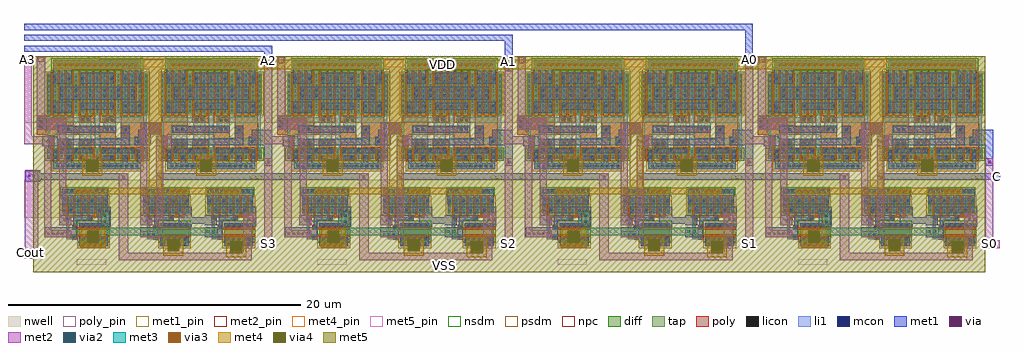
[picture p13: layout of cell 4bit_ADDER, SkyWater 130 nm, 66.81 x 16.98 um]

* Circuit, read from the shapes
.subckt 4bit_ADDER A0 A1 A2 A3 B0 B1 B2 B3 C Cout S0 S1 S2 S3 VDD VSS
XM1 VSS B3 n1 VSS sky130_fd_pr__nfet_01v8 w=0.65 l=0.15
XM2 n2 n3 VSS VSS sky130_fd_pr__nfet_01v8 w=0.65 l=0.15 m=3
XM3 FULL_ADDER_3/NAND2_3/A n1 n2 VSS sky130_fd_pr__nfet_01v8 w=0.65 l=0.15 m=3
XM4 n4 B3 VSS VSS sky130_fd_pr__nfet_01v8 w=2 l=0.15
XM5 FULL_ADDER_3/NAND2_2/B A3 n4 VSS sky130_fd_pr__nfet_01v8 w=2 l=0.15
XM6 n5 B3 FULL_ADDER_3/NAND2_3/A VSS sky130_fd_pr__nfet_01v8 w=0.65 l=0.15 m=3
XM7 VSS A3 n5 VSS sky130_fd_pr__nfet_01v8 w=0.65 l=0.15 m=3
XM8 n3 A3 VSS VSS sky130_fd_pr__nfet_01v8 w=0.65 l=0.15
XM9 n6 FULL_ADDER_3/NAND2_3/A VSS VSS sky130_fd_pr__nfet_01v8 w=2 l=0.15
XM10 FULL_ADDER_3/NAND2_2/A FULL_ADDER_3/CIN n6 VSS sky130_fd_pr__nfet_01v8 w=2 l=0.15
XM11 VSS FULL_ADDER_3/NAND2_3/A n7 VSS sky130_fd_pr__nfet_01v8 w=0.65 l=0.15
XM12 n8 n9 VSS VSS sky130_fd_pr__nfet_01v8 w=0.65 l=0.15 m=3
XM13 S3 n7 n8 VSS sky130_fd_pr__nfet_01v8 w=0.65 l=0.15 m=3
XM14 n10 FULL_ADDER_3/NAND2_3/A S3 VSS sky130_fd_pr__nfet_01v8 w=0.65 l=0.15 m=3
XM15 n11 FULL_ADDER_3/NAND2_2/A VSS VSS sky130_fd_pr__nfet_01v8 w=2 l=0.15
XM16 Cout FULL_ADDER_3/NAND2_2/B n11 VSS sky130_fd_pr__nfet_01v8 w=2 l=0.15
XM17 VSS FULL_ADDER_3/CIN n10 VSS sky130_fd_pr__nfet_01v8 w=0.65 l=0.15 m=3
XM18 n9 FULL_ADDER_3/CIN VSS VSS sky130_fd_pr__nfet_01v8 w=0.65 l=0.15
XM19 VSS B2 n12 VSS sky130_fd_pr__nfet_01v8 w=0.65 l=0.15
XM20 n13 n14 VSS VSS sky130_fd_pr__nfet_01v8 w=0.65 l=0.15 m=3
XM21 FULL_ADDER_2/NAND2_3/A n12 n13 VSS sky130_fd_pr__nfet_01v8 w=0.65 l=0.15 m=3
XM22 n15 B2 VSS VSS sky130_fd_pr__nfet_01v8 w=2 l=0.15
XM23 FULL_ADDER_2/NAND2_2/B A2 n15 VSS sky130_fd_pr__nfet_01v8 w=2 l=0.15
XM24 n16 B2 FULL_ADDER_2/NAND2_3/A VSS sky130_fd_pr__nfet_01v8 w=0.65 l=0.15 m=3
XM25 VSS A2 n16 VSS sky130_fd_pr__nfet_01v8 w=0.65 l=0.15 m=3
XM26 n14 A2 VSS VSS sky130_fd_pr__nfet_01v8 w=0.65 l=0.15
XM27 n17 FULL_ADDER_2/NAND2_3/A VSS VSS sky130_fd_pr__nfet_01v8 w=2 l=0.15
XM28 FULL_ADDER_2/NAND2_2/A FULL_ADDER_2/CIN n17 VSS sky130_fd_pr__nfet_01v8 w=2 l=0.15
XM29 VSS FULL_ADDER_2/NAND2_3/A n18 VSS sky130_fd_pr__nfet_01v8 w=0.65 l=0.15
XM30 n19 n20 VSS VSS sky130_fd_pr__nfet_01v8 w=0.65 l=0.15 m=3
XM31 S2 n18 n19 VSS sky130_fd_pr__nfet_01v8 w=0.65 l=0.15 m=3
XM32 n21 FULL_ADDER_2/NAND2_3/A S2 VSS sky130_fd_pr__nfet_01v8 w=0.65 l=0.15 m=3
XM33 n22 FULL_ADDER_2/NAND2_2/A VSS VSS sky130_fd_pr__nfet_01v8 w=2 l=0.15
XM34 FULL_ADDER_3/CIN FULL_ADDER_2/NAND2_2/B n22 VSS sky130_fd_pr__nfet_01v8 w=2 l=0.15
XM35 VSS FULL_ADDER_2/CIN n21 VSS sky130_fd_pr__nfet_01v8 w=0.65 l=0.15 m=3
XM36 n20 FULL_ADDER_2/CIN VSS VSS sky130_fd_pr__nfet_01v8 w=0.65 l=0.15
XM37 VSS B1 n23 VSS sky130_fd_pr__nfet_01v8 w=0.65 l=0.15
XM38 n24 n25 VSS VSS sky130_fd_pr__nfet_01v8 w=0.65 l=0.15 m=3
XM39 FULL_ADDER_1/NAND2_3/A n23 n24 VSS sky130_fd_pr__nfet_01v8 w=0.65 l=0.15 m=3
XM40 n26 B1 VSS VSS sky130_fd_pr__nfet_01v8 w=2 l=0.15
XM41 FULL_ADDER_1/NAND2_2/B A1 n26 VSS sky130_fd_pr__nfet_01v8 w=2 l=0.15
XM42 n27 B1 FULL_ADDER_1/NAND2_3/A VSS sky130_fd_pr__nfet_01v8 w=0.65 l=0.15 m=3
XM43 VSS A1 n27 VSS sky130_fd_pr__nfet_01v8 w=0.65 l=0.15 m=3
XM44 n25 A1 VSS VSS sky130_fd_pr__nfet_01v8 w=0.65 l=0.15
XM45 n28 FULL_ADDER_1/NAND2_3/A VSS VSS sky130_fd_pr__nfet_01v8 w=2 l=0.15
XM46 FULL_ADDER_1/NAND2_2/A FULL_ADDER_1/CIN n28 VSS sky130_fd_pr__nfet_01v8 w=2 l=0.15
XM47 VSS FULL_ADDER_1/NAND2_3/A n29 VSS sky130_fd_pr__nfet_01v8 w=0.65 l=0.15
XM48 n30 n31 VSS VSS sky130_fd_pr__nfet_01v8 w=0.65 l=0.15 m=3
XM49 S1 n29 n30 VSS sky130_fd_pr__nfet_01v8 w=0.65 l=0.15 m=3
XM50 n32 FULL_ADDER_1/NAND2_3/A S1 VSS sky130_fd_pr__nfet_01v8 w=0.65 l=0.15 m=3
XM51 n33 FULL_ADDER_1/NAND2_2/A VSS VSS sky130_fd_pr__nfet_01v8 w=2 l=0.15
XM52 FULL_ADDER_2/CIN FULL_ADDER_1/NAND2_2/B n33 VSS sky130_fd_pr__nfet_01v8 w=2 l=0.15
XM53 VSS FULL_ADDER_1/CIN n32 VSS sky130_fd_pr__nfet_01v8 w=0.65 l=0.15 m=3
XM54 n31 FULL_ADDER_1/CIN VSS VSS sky130_fd_pr__nfet_01v8 w=0.65 l=0.15
XM55 VSS B0 n34 VSS sky130_fd_pr__nfet_01v8 w=0.65 l=0.15
XM56 n35 n36 VSS VSS sky130_fd_pr__nfet_01v8 w=0.65 l=0.15 m=3
XM57 FULL_ADDER_0/NAND2_3/A n34 n35 VSS sky130_fd_pr__nfet_01v8 w=0.65 l=0.15 m=3
XM58 n37 B0 VSS VSS sky130_fd_pr__nfet_01v8 w=2 l=0.15
XM59 FULL_ADDER_0/NAND2_2/B A0 n37 VSS sky130_fd_pr__nfet_01v8 w=2 l=0.15
XM60 n38 B0 FULL_ADDER_0/NAND2_3/A VSS sky130_fd_pr__nfet_01v8 w=0.65 l=0.15 m=3
XM61 VSS A0 n38 VSS sky130_fd_pr__nfet_01v8 w=0.65 l=0.15 m=3
XM62 n36 A0 VSS VSS sky130_fd_pr__nfet_01v8 w=0.65 l=0.15
XM63 n39 FULL_ADDER_0/NAND2_3/A VSS VSS sky130_fd_pr__nfet_01v8 w=2 l=0.15
XM64 FULL_ADDER_0/NAND2_2/A C n39 VSS sky130_fd_pr__nfet_01v8 w=2 l=0.15
XM65 VSS FULL_ADDER_0/NAND2_3/A n40 VSS sky130_fd_pr__nfet_01v8 w=0.65 l=0.15
XM66 n41 n42 VSS VSS sky130_fd_pr__nfet_01v8 w=0.65 l=0.15 m=3
XM67 S0 n40 n41 VSS sky130_fd_pr__nfet_01v8 w=0.65 l=0.15 m=3
XM68 n43 FULL_ADDER_0/NAND2_3/A S0 VSS sky130_fd_pr__nfet_01v8 w=0.65 l=0.15 m=3
XM69 n44 FULL_ADDER_0/NAND2_2/A VSS VSS sky130_fd_pr__nfet_01v8 w=2 l=0.15
XM70 FULL_ADDER_1/CIN FULL_ADDER_0/NAND2_2/B n44 VSS sky130_fd_pr__nfet_01v8 w=2 l=0.15
XM71 VSS C n43 VSS sky130_fd_pr__nfet_01v8 w=0.65 l=0.15 m=3
XM72 n42 C VSS VSS sky130_fd_pr__nfet_01v8 w=0.65 l=0.15
XM73 VDD B3 n1 VDD sky130_fd_pr__pfet_01v8 w=2.75 l=0.15
XM74 n45 B3 VDD VDD sky130_fd_pr__pfet_01v8 w=2.75 l=0.15 m=3
XM75 FULL_ADDER_3/NAND2_2/B B3 VDD VDD sky130_fd_pr__pfet_01v8 w=1.07 l=0.15 m=3
XM76 FULL_ADDER_3/NAND2_3/A n1 n45 VDD sky130_fd_pr__pfet_01v8 w=2.75 l=0.15 m=3
XM77 VDD A3 FULL_ADDER_3/NAND2_2/B VDD sky130_fd_pr__pfet_01v8 w=1.07 l=0.15 m=3
XM78 n45 n3 FULL_ADDER_3/NAND2_3/A VDD sky130_fd_pr__pfet_01v8 w=2.75 l=0.15 m=3
XM79 VDD A3 n45 VDD sky130_fd_pr__pfet_01v8 w=2.75 l=0.15 m=3
XM80 n3 A3 VDD VDD sky130_fd_pr__pfet_01v8 w=2.75 l=0.15
XM81 FULL_ADDER_3/NAND2_2/A FULL_ADDER_3/NAND2_3/A VDD VDD sky130_fd_pr__pfet_01v8 w=1.07 l=0.15 m=3
XM82 VDD FULL_ADDER_3/NAND2_3/A n7 VDD sky130_fd_pr__pfet_01v8 w=2.75 l=0.15
XM83 VDD FULL_ADDER_3/CIN FULL_ADDER_3/NAND2_2/A VDD sky130_fd_pr__pfet_01v8 w=1.07 l=0.15 m=3
XM84 n46 FULL_ADDER_3/NAND2_3/A VDD VDD sky130_fd_pr__pfet_01v8 w=2.75 l=0.15 m=3
XM85 S3 n7 n46 VDD sky130_fd_pr__pfet_01v8 w=2.75 l=0.15 m=3
XM86 Cout FULL_ADDER_3/NAND2_2/A VDD VDD sky130_fd_pr__pfet_01v8 w=1.07 l=0.15 m=3
XM87 n46 n9 S3 VDD sky130_fd_pr__pfet_01v8 w=2.75 l=0.15 m=3
XM88 VDD FULL_ADDER_3/NAND2_2/B Cout VDD sky130_fd_pr__pfet_01v8 w=1.07 l=0.15 m=3
XM89 VDD FULL_ADDER_3/CIN n46 VDD sky130_fd_pr__pfet_01v8 w=2.75 l=0.15 m=3
XM90 n9 FULL_ADDER_3/CIN VDD VDD sky130_fd_pr__pfet_01v8 w=2.75 l=0.15
XM91 VDD B2 n12 VDD sky130_fd_pr__pfet_01v8 w=2.75 l=0.15
XM92 n47 B2 VDD VDD sky130_fd_pr__pfet_01v8 w=2.75 l=0.15 m=3
XM93 FULL_ADDER_2/NAND2_2/B B2 VDD VDD sky130_fd_pr__pfet_01v8 w=1.07 l=0.15 m=3
XM94 FULL_ADDER_2/NAND2_3/A n12 n47 VDD sky130_fd_pr__pfet_01v8 w=2.75 l=0.15 m=3
XM95 VDD A2 FULL_ADDER_2/NAND2_2/B VDD sky130_fd_pr__pfet_01v8 w=1.07 l=0.15 m=3
XM96 n47 n14 FULL_ADDER_2/NAND2_3/A VDD sky130_fd_pr__pfet_01v8 w=2.75 l=0.15 m=3
XM97 VDD A2 n47 VDD sky130_fd_pr__pfet_01v8 w=2.75 l=0.15 m=3
XM98 n14 A2 VDD VDD sky130_fd_pr__pfet_01v8 w=2.75 l=0.15
XM99 FULL_ADDER_2/NAND2_2/A FULL_ADDER_2/NAND2_3/A VDD VDD sky130_fd_pr__pfet_01v8 w=1.07 l=0.15 m=3
XM100 VDD FULL_ADDER_2/NAND2_3/A n18 VDD sky130_fd_pr__pfet_01v8 w=2.75 l=0.15
XM101 VDD FULL_ADDER_2/CIN FULL_ADDER_2/NAND2_2/A VDD sky130_fd_pr__pfet_01v8 w=1.07 l=0.15 m=3
XM102 n48 FULL_ADDER_2/NAND2_3/A VDD VDD sky130_fd_pr__pfet_01v8 w=2.75 l=0.15 m=3
XM103 S2 n18 n48 VDD sky130_fd_pr__pfet_01v8 w=2.75 l=0.15 m=3
XM104 FULL_ADDER_3/CIN FULL_ADDER_2/NAND2_2/A VDD VDD sky130_fd_pr__pfet_01v8 w=1.07 l=0.15 m=3
XM105 n48 n20 S2 VDD sky130_fd_pr__pfet_01v8 w=2.75 l=0.15 m=3
XM106 VDD FULL_ADDER_2/NAND2_2/B FULL_ADDER_3/CIN VDD sky130_fd_pr__pfet_01v8 w=1.07 l=0.15 m=3
XM107 VDD FULL_ADDER_2/CIN n48 VDD sky130_fd_pr__pfet_01v8 w=2.75 l=0.15 m=3
XM108 n20 FULL_ADDER_2/CIN VDD VDD sky130_fd_pr__pfet_01v8 w=2.75 l=0.15
XM109 VDD B1 n23 VDD sky130_fd_pr__pfet_01v8 w=2.75 l=0.15
XM110 n49 B1 VDD VDD sky130_fd_pr__pfet_01v8 w=2.75 l=0.15 m=3
XM111 FULL_ADDER_1/NAND2_2/B B1 VDD VDD sky130_fd_pr__pfet_01v8 w=1.07 l=0.15 m=3
XM112 FULL_ADDER_1/NAND2_3/A n23 n49 VDD sky130_fd_pr__pfet_01v8 w=2.75 l=0.15 m=3
XM113 VDD A1 FULL_ADDER_1/NAND2_2/B VDD sky130_fd_pr__pfet_01v8 w=1.07 l=0.15 m=3
XM114 n49 n25 FULL_ADDER_1/NAND2_3/A VDD sky130_fd_pr__pfet_01v8 w=2.75 l=0.15 m=3
XM115 VDD A1 n49 VDD sky130_fd_pr__pfet_01v8 w=2.75 l=0.15 m=3
XM116 n25 A1 VDD VDD sky130_fd_pr__pfet_01v8 w=2.75 l=0.15
XM117 FULL_ADDER_1/NAND2_2/A FULL_ADDER_1/NAND2_3/A VDD VDD sky130_fd_pr__pfet_01v8 w=1.07 l=0.15 m=3
XM118 VDD FULL_ADDER_1/NAND2_3/A n29 VDD sky130_fd_pr__pfet_01v8 w=2.75 l=0.15
XM119 VDD FULL_ADDER_1/CIN FULL_ADDER_1/NAND2_2/A VDD sky130_fd_pr__pfet_01v8 w=1.07 l=0.15 m=3
XM120 n50 FULL_ADDER_1/NAND2_3/A VDD VDD sky130_fd_pr__pfet_01v8 w=2.75 l=0.15 m=3
XM121 S1 n29 n50 VDD sky130_fd_pr__pfet_01v8 w=2.75 l=0.15 m=3
XM122 FULL_ADDER_2/CIN FULL_ADDER_1/NAND2_2/A VDD VDD sky130_fd_pr__pfet_01v8 w=1.07 l=0.15 m=3
XM123 n50 n31 S1 VDD sky130_fd_pr__pfet_01v8 w=2.75 l=0.15 m=3
XM124 VDD FULL_ADDER_1/NAND2_2/B FULL_ADDER_2/CIN VDD sky130_fd_pr__pfet_01v8 w=1.07 l=0.15 m=3
XM125 VDD FULL_ADDER_1/CIN n50 VDD sky130_fd_pr__pfet_01v8 w=2.75 l=0.15 m=3
XM126 n31 FULL_ADDER_1/CIN VDD VDD sky130_fd_pr__pfet_01v8 w=2.75 l=0.15
XM127 VDD B0 n34 VDD sky130_fd_pr__pfet_01v8 w=2.75 l=0.15
XM128 n51 B0 VDD VDD sky130_fd_pr__pfet_01v8 w=2.75 l=0.15 m=3
XM129 FULL_ADDER_0/NAND2_2/B B0 VDD VDD sky130_fd_pr__pfet_01v8 w=1.07 l=0.15 m=3
XM130 FULL_ADDER_0/NAND2_3/A n34 n51 VDD sky130_fd_pr__pfet_01v8 w=2.75 l=0.15 m=3
XM131 VDD A0 FULL_ADDER_0/NAND2_2/B VDD sky130_fd_pr__pfet_01v8 w=1.07 l=0.15 m=3
XM132 n51 n36 FULL_ADDER_0/NAND2_3/A VDD sky130_fd_pr__pfet_01v8 w=2.75 l=0.15 m=3
XM133 VDD A0 n51 VDD sky130_fd_pr__pfet_01v8 w=2.75 l=0.15 m=3
XM134 n36 A0 VDD VDD sky130_fd_pr__pfet_01v8 w=2.75 l=0.15
XM135 FULL_ADDER_0/NAND2_2/A FULL_ADDER_0/NAND2_3/A VDD VDD sky130_fd_pr__pfet_01v8 w=1.07 l=0.15 m=3
XM136 VDD FULL_ADDER_0/NAND2_3/A n40 VDD sky130_fd_pr__pfet_01v8 w=2.75 l=0.15
XM137 VDD C FULL_ADDER_0/NAND2_2/A VDD sky130_fd_pr__pfet_01v8 w=1.07 l=0.15 m=3
XM138 n52 FULL_ADDER_0/NAND2_3/A VDD VDD sky130_fd_pr__pfet_01v8 w=2.75 l=0.15 m=3
XM139 S0 n40 n52 VDD sky130_fd_pr__pfet_01v8 w=2.75 l=0.15 m=3
XM140 FULL_ADDER_1/CIN FULL_ADDER_0/NAND2_2/A VDD VDD sky130_fd_pr__pfet_01v8 w=1.07 l=0.15 m=3
XM141 n52 n42 S0 VDD sky130_fd_pr__pfet_01v8 w=2.75 l=0.15 m=3
XM142 VDD FULL_ADDER_0/NAND2_2/B FULL_ADDER_1/CIN VDD sky130_fd_pr__pfet_01v8 w=1.07 l=0.15 m=3
XM143 VDD C n52 VDD sky130_fd_pr__pfet_01v8 w=2.75 l=0.15 m=3
XM144 n42 C VDD VDD sky130_fd_pr__pfet_01v8 w=2.75 l=0.15
.ends

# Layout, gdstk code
from math import pi, radians
import gdstk
lib = gdstk.Library(unit=1e-6, precision=1e-09)
def R(c, l, rs):  # rectangles x0, y0, x1, y1
    for r in rs: c.add(gdstk.rectangle(r[:2], r[2:], *l))
def A(c, l, x, y, w, h, nx, ny, dx, dy):  # array of equal rectangles
    R(c, l, [(x+i*dx, y+j*dy, x+i*dx+w, y+j*dy+h) for i in range(nx) for j in range(ny)])
nwell = (64, 20)
diff = (65, 20)
tap = (65, 44)
poly_pin = (66, 16)
poly = (66, 20)
licon = (66, 44)
li1 = (67, 20)
mcon = (67, 44)
met1_pin = (68, 16)
met1 = (68, 20)
via = (68, 44)
met2_pin = (69, 16)
met2 = (69, 20)
via2 = (69, 44)
met3 = (70, 20)
via3 = (70, 44)
met4_pin = (71, 16)
met4 = (71, 20)
via4 = (71, 44)
met5_pin = (72, 16)
met5 = (72, 20)
nsdm = (93, 44)
psdm = (94, 20)
npc = (95, 20)

xor2 = lib.new_cell('XOR2')
R(xor2, nwell, [(-0.435,4.32,6.855,8.82)])
R(xor2, diff, [(-0.255,1.835,6.675,2.485), (-0.255,4.935,6.675,7.685)])
R(xor2, tap, [(0.21,1.11,6.22,1.565), (0.185,7.98,6.235,8.61)])
R(xor2, poly_pin, [(-0.36,3.66,-0.24,3.86)])
A(xor2, poly, 0.495, 1.705, 0.15, 0.89, 12, 1, 0.48, 0)
A(xor2, poly, 0.495, 4.78, 0.15, 3.06, 3, 1, 0.48, 0)
A(xor2, poly, 3.375, 4.78, 0.15, 3.06, 6, 1, 0.48, 0)
A(xor2, poly, 1.935, 4.785, 0.15, 3.055, 3, 1, 0.48, 0)
R(xor2, poly, [(0.035,1.705,0.185,2.61), (6.235,1.705,6.385,2.595), (0.495,2.595,1.605,3.16), (1.935,2.595,3.045,3.135), (3.375,2.595,4.485,3.485), (4.815,2.595,6.385,4.78), (-0.13,2.61,0.25,3.485), (-0.435,3.485,4.485,4.03), (-0.13,4.03,1.615,4.78), (3.375,4.315,4.485,4.78), (1.935,4.32,3.045,4.785), (0.035,4.78,0.185,7.815), (6.235,4.78,6.385,7.815)])
A(xor2, licon, 0.415, 1.255, 0.17, 0.17, 17, 2, 0.34, 6.95)
A(xor2, licon, 0.245, 1.905, 0.17, 0.17, 13, 2, 0.48, 0.34)
A(xor2, licon, -0.195, 5.035, 0.17, 0.17, 1, 8, 0, 0.34)
A(xor2, licon, 0.245, 5.035, 0.17, 0.17, 13, 8, 0.48, 0.34)
A(xor2, licon, 6.445, 5.035, 0.17, 0.17, 1, 8, 0, 0.34)
R(xor2, licon, [(-0.195,1.905,-0.025,2.075), (6.445,1.905,6.615,2.075), (-0.195,2.245,-0.025,2.415), (6.445,2.245,6.615,2.415), (2.195,2.795,2.365,2.965), (2.535,2.795,2.705,2.965), (0.78,2.835,0.95,3.005), (1.12,2.835,1.29,3.005), (5.05,3.77,5.22,3.94), (3.81,4.415,3.98,4.585), (4.15,4.415,4.32,4.585), (2.155,4.44,2.325,4.61), (2.495,4.44,2.665,4.61)])
A(xor2, li1, 0.245, 1.815, 0.17, 0.69, 6, 1, 0.48, 0)
A(xor2, li1, 3.605, 1.815, 0.17, 0.69, 6, 1, 0.48, 0)
A(xor2, li1, 0.245, 4.915, 0.17, 2.79, 6, 1, 0.48, 0)
A(xor2, li1, 3.605, 4.915, 0.17, 2.79, 6, 1, 0.48, 0)
R(xor2, li1, [(0.21,1.11,6.22,1.565), (-0.195,1.815,-0.025,4.345), (3.125,1.815,3.295,2.63), (6.445,1.815,6.615,4.32), (3.045,2.63,3.375,2.8), (0.485,2.675,1.59,4.125), (1.99,2.685,2.815,4.345), (3.045,2.8,6.245,3.28), (3.045,3.28,3.375,4.78), (4.85,3.585,5.425,4.115), (3.605,3.62,4.49,4.32), (3.605,4.32,6.615,4.705), (-0.195,4.345,2.815,4.69), (-0.195,4.69,-0.025,7.705), (6.445,4.705,6.615,7.705), (3.125,4.78,3.295,7.705), (0.185,7.98,6.235,8.61)])
A(xor2, mcon, 0.435, 1.255, 0.17, 0.17, 16, 2, 0.36, 6.95)
A(xor2, mcon, 1.205, 1.825, 0.17, 0.17, 5, 1, 0.96, 0)
A(xor2, mcon, 3.605, 2.33, 0.17, 0.17, 3, 1, 0.96, 0)
A(xor2, mcon, 0.725, 6.09, 0.17, 0.17, 5, 2, 0.96, 0.36)
A(xor2, mcon, 3.125, 7.24, 0.17, 0.17, 4, 1, 0.96, 0)
R(xor2, mcon, [(0.245,1.895,0.415,2.065), (6.005,1.895,6.175,2.065), (0.245,2.255,0.415,2.425), (6.005,2.255,6.175,2.425), (2.645,2.325,2.815,2.495), (0.725,2.33,0.895,2.5), (1.685,2.33,1.855,2.5), (5.92,2.945,6.09,3.115), (0.8,3.77,0.97,3.94), (1.16,3.77,1.33,3.94), (5.05,3.77,5.22,3.94), (3.785,3.81,3.955,3.98), (4.145,3.81,4.315,3.98), (0.245,5.28,0.415,5.45), (3.125,5.31,3.295,5.48), (2.165,5.355,2.335,5.525), (4.085,5.355,4.255,5.525), (1.205,5.37,1.375,5.54), (5.045,5.37,5.215,5.54), (6.005,5.37,6.175,5.54), (5.525,6.085,5.695,6.255), (5.525,6.445,5.695,6.615), (2.165,7.245,2.335,7.415), (0.245,7.255,0.415,7.425), (1.205,7.255,1.375,7.425)])
R(xor2, met1_pin, [(1.84,1.28,2.31,1.41), (-0.47,2.94,-0.35,3.14), (6.48,3.08,6.74,3.47)])
R(xor2, met1, [(0.21,1.11,6.22,1.565), (0.21,1.565,0.485,2.505), (1.135,1.565,1.46,2.08), (4.965,1.565,5.29,2.075), (5.945,1.565,6.22,2.505), (2.1,1.735,4.335,2.055), (0.645,2.22,2.895,2.56), (3.525,2.22,5.775,2.56), (-0.545,2.71,0.48,2.77), (-0.545,2.77,5.42,3.2), (5.79,2.775,6.855,3.355), (-0.545,3.2,0.48,3.425), (4.845,3.2,5.42,4.12), (6,3.355,6.855,3.82), (0.55,3.625,4.495,4.12), (0.185,4.995,1.455,5.73), (4.965,4.995,6.235,5.73), (2.085,5.215,4.335,5.675), (0.645,5.895,5.775,6.79), (0.185,6.98,1.455,7.94), (2.085,6.98,4.335,7.715), (4.965,6.98,6.235,7.94), (0.185,7.94,6.235,8.61)])
A(xor2, via, 0.585, 8.215, 0.15, 0.15, 17, 1, 0.32, 0)
R(xor2, via, [(2.79,1.285,2.94,1.435)])
R(xor2, met2_pin, [(2.19,8.22,2.66,8.35)])
R(xor2, met2, [(2.66,1.155,3.07,1.565), (0.185,7.98,6.235,8.61)])
A(xor2, via2, 0.52, 8.19, 0.2, 0.2, 14, 1, 0.4, 0)
R(xor2, via2, [(2.765,1.26,2.965,1.46)])
R(xor2, met3, [(2.59,1.11,3.22,1.565), (0.185,7.98,6.235,8.61)])
A(xor2, via3, 0.52, 8.19, 0.2, 0.2, 14, 1, 0.4, 0)
R(xor2, via3, [(2.765,1.26,2.965,1.46)])
R(xor2, met4, [(2.185,0.68,3.545,2.04), (0.185,7.98,6.235,8.61)])
R(xor2, via4, [(2.465,0.96,3.265,1.76)])
R(xor2, met5, [(1.77,0.385,4.12,2.355)])
R(xor2, nsdm, [(-0.38,1.71,6.8,2.61), (0.06,7.855,6.36,8.735)])
R(xor2, psdm, [(0.085,0.985,6.345,1.69), (-0.38,4.81,6.8,7.81)])
R(xor2, npc, [(2.095,2.695,2.805,3.065), (0.68,2.735,1.39,3.105), (4.95,3.67,5.32,4.04), (3.71,4.315,4.42,4.685), (2.055,4.34,2.765,4.71)])
xor2.add(gdstk.Label('A', (-0.3,3.76), layer=66, texttype=16))
xor2.add(gdstk.Label('B', (-0.41,3.04), layer=68, texttype=16))
xor2.add(gdstk.Label('VSS', (2.075,1.345), layer=68, texttype=16))
xor2.add(gdstk.Label('VDD', (2.425,8.285), layer=68, texttype=16))
xor2.add(gdstk.Label('Y', (6.61,3.275), layer=68, texttype=16))

pmos_p2_w321_l015_f3 = lib.new_cell('pmos_p2-w321-L015-f3')
R(pmos_p2_w321_l015_f3, nwell, [(-1.765,-0.715,1.765,0.845)])
R(pmos_p2_w321_l015_f3, diff, [(-1.585,-0.535,1.585,0.535)])
A(pmos_p2_w321_l015_f3, poly, -1.275, -0.69, 0.15, 1.355, 6, 1, 0.48, 0)
R(pmos_p2_w321_l015_f3, poly, [(-1.275,0.665,-0.165,0.815), (0.165,0.665,1.275,0.815)])
A(pmos_p2_w321_l015_f3, licon, -1.525, -0.425, 0.17, 0.17, 7, 3, 0.48, 0.34)
A(pmos_p2_w321_l015_f3, li1, -1.525, -0.555, 0.17, 1.11, 7, 1, 0.48, 0)
A(pmos_p2_w321_l015_f3, mcon, -1.525, -0.39, 0.17, 0.17, 4, 1, 0.96, 0)
A(pmos_p2_w321_l015_f3, mcon, -1.045, 0.22, 0.17, 0.17, 3, 1, 0.96, 0)
R(pmos_p2_w321_l015_f3, met1, [(-1.585,-0.535,1.585,-0.075), (-1.125,0.075,1.585,0.535)])
R(pmos_p2_w321_l015_f3, psdm, [(-1.71,-0.66,1.71,0.66)])

nmos_2shared_w200_l015_f = lib.new_cell('nmos_2shared_W200-L015-F1')
R(nmos_2shared_w200_l015_f, diff, [(-0.625,-1,0.625,1)])
R(nmos_2shared_w200_l015_f, poly, [(-0.315,-1.13,-0.165,1.13), (0.165,-1.13,0.315,1.13)])
A(nmos_2shared_w200_l015_f, licon, -0.565, -0.935, 0.17, 0.17, 1, 6, 0, 0.34)
A(nmos_2shared_w200_l015_f, licon, 0.395, -0.935, 0.17, 0.17, 1, 6, 0, 0.34)
R(nmos_2shared_w200_l015_f, li1, [(-0.565,-1.02,-0.395,1.02), (0.395,-1.02,0.565,1.02)])
A(nmos_2shared_w200_l015_f, mcon, -0.565, -0.805, 0.17, 0.17, 1, 5, 0, 0.36)
A(nmos_2shared_w200_l015_f, mcon, 0.395, -0.805, 0.17, 0.17, 1, 5, 0, 0.36)
R(nmos_2shared_w200_l015_f, met1, [(-0.595,-1,-0.365,1), (0.365,-1,0.595,1)])
R(nmos_2shared_w200_l015_f, nsdm, [(-0.75,-1.125,0.75,1.125)])

nand2 = lib.new_cell('NAND2')
R(nand2, nwell, [(1.78,3.42,5.31,4.02)])
R(nand2, diff, [(3.13,0.27,5.13,0.3), (4.97,0.73,4.98,0.74)])
R(nand2, tap, [(3.13,-0.085,5.13,0.27), (1.98,3.51,5.065,3.84)])
R(nand2, poly, [(2.265,0.395,3.02,0.73), (2.265,0.73,2.48,1.705), (2.69,1.06,3.57,1.21), (2.69,1.21,3.02,1.395), (2.265,1.705,2.6,2.04), (3.71,1.705,4.045,2.04)])
A(nand2, licon, 3.335, -0.03, 0.17, 0.17, 5, 1, 0.34, 0)
A(nand2, licon, 2.245, 3.6, 0.17, 0.17, 8, 1, 0.34, 0)
R(nand2, licon, [(2.77,0.475,2.94,0.645), (2.77,1.14,2.94,1.31), (2.35,1.76,2.52,1.93), (3.795,1.76,3.965,1.93)])
R(nand2, li1, [(3.13,-0.03,5.13,0.14), (2.265,0.395,2.94,0.73), (2.265,0.73,2.48,1.76), (2.77,1.06,2.94,1.735), (2.77,1.735,4.045,1.905), (2.265,1.76,2.6,1.935), (3.71,1.905,4.045,1.935), (2.02,3.57,5.065,3.805)])
A(nand2, mcon, 3.295, -0.03, 0.17, 0.17, 5, 1, 0.36, 0)
A(nand2, mcon, 2.175, 3.6, 0.17, 0.17, 8, 1, 0.36, 0)
R(nand2, mcon, [(2.77,1.14,2.94,1.31), (2.35,1.76,2.52,1.93), (3.795,1.76,3.965,1.93)])
R(nand2, met1, [(3.13,-0.085,5.13,0.525), (1.78,0.525,2.99,1.205), (2.74,1.205,2.99,1.66), (3.13,1.26,5.31,1.52), (1.78,1.35,2.6,2.025), (4.42,1.52,5.31,2.17), (2.74,1.66,4.04,2.03), (2.425,2.17,5.31,2.63), (1.955,2.775,5.125,3.84)])
R(nand2, nsdm, [(3.005,0.27,5.255,0.425), (4.845,0.425,5.105,0.865), (1.855,3.385,5.19,3.965)])
R(nand2, psdm, [(3.005,-0.21,5.255,0.27)])
R(nand2, npc, [(2.67,0.375,3.04,0.745), (2.67,1.04,3.04,1.4), (2.35,1.4,3.04,1.41), (2.35,1.41,2.94,1.66), (2.25,1.66,2.94,1.67), (3.695,1.66,4.065,2.03), (2.25,1.67,2.62,2.03)])
nand2.add(gdstk.Reference(pmos_p2_w321_l015_f3, (3.545,2.705), x_reflection=True))
nand2.add(gdstk.Reference(nmos_2shared_w200_l015_f, (4.13,0.895), rotation=3*pi/2))
nand2.add(gdstk.Label('A', (1.78,1.705), layer=68, texttype=16))
nand2.add(gdstk.Label('B', (1.78,0.865), layer=68, texttype=16))
nand2.add(gdstk.Label('VSS', (4.13,0.27), layer=68, texttype=16))
nand2.add(gdstk.Label('VDD', (3.545,3.42), layer=68, texttype=16))
nand2.add(gdstk.Label('Y', (5.31,2.255), layer=68, texttype=16))

full_adder = lib.new_cell('FULL_ADDER')
R(full_adder, nwell, [(-1.46,-3.395,14.995,-0.795), (-1.46,3.125,14.995,7.68)])
R(full_adder, poly, [(-0.59,2.29,0.37,3.585), (7.065,2.29,8.645,3.15)])
R(full_adder, licon, [(7.385,2.47,7.555,2.64), (-0.465,2.77,-0.295,2.94), (7.385,2.81,7.555,2.98), (-0.465,3.11,-0.295,3.28)])
R(full_adder, li1, [(7.195,2.29,7.74,3.15), (6.79,2.475,6.96,2.555), (6.79,2.555,6.915,3.04), (-0.585,2.65,-0.16,3.415), (6.79,3.04,6.96,3.125)])
R(full_adder, mcon, [(7.385,2.73,7.555,2.9), (-0.465,2.76,-0.295,2.93), (-0.465,3.12,-0.295,3.29)])
R(full_adder, met1_pin, [(-0.4,-0.76,-0.22,-0.41), (14.04,-0.72,14.79,-0.5)])
R(full_adder, met1, [(12.88,-5.6,13.27,-5.21), (8.555,-5.505,8.975,-5.08), (2.385,-5.42,4.15,-5.05), (8.61,-5.08,8.92,-4.985), (-0.035,-4.73,1.92,-4.045), (6.61,-4.685,7.535,-4.385), (10.97,-4.515,11.695,-4.14), (0.945,-3.905,1.765,-3.23), (6.49,-3.905,7.31,-3.255), (3.88,-3.8,4.295,-3.06), (9.13,-3.795,11.215,-3.345), (13.765,-3.71,14.365,-3.31), (2.005,-1.79,3.375,-1.34), (8.45,-1.79,9.82,-1.34), (12.035,-1.79,13.405,-1.34), (-0.465,-0.805,5.675,-0.35), (7.59,-0.805,14.975,-0.35), (14.995,0.155,15.54,1.58), (7.595,1.515,8.62,2.23), (14.31,1.58,15.54,2.625), (0.02,1.595,0.4,2.135), (6.78,2.475,7.74,3.125), (-0.585,2.65,0.09,3.42), (6.785,3.125,7.74,3.15)])
A(full_adder, via, 2.55, -5.32, 0.15, 0.15, 5, 1, 0.32, 0)
A(full_adder, via, 6.675, -4.61, 0.15, 0.15, 3, 1, 0.32, 0)
A(full_adder, via, 0.135, -4.57, 0.15, 0.15, 4, 1, 0.32, 0)
A(full_adder, via, 2.135, -1.64, 0.15, 0.15, 4, 1, 0.32, 0)
A(full_adder, via, 8.58, -1.64, 0.15, 0.15, 4, 1, 0.32, 0)
A(full_adder, via, 12.165, -1.64, 0.15, 0.15, 4, 1, 0.32, 0)
R(full_adder, via, [(13,-5.48,13.15,-5.33), (8.69,-5.37,8.84,-5.22), (11.095,-4.405,11.245,-4.255), (11.415,-4.405,11.565,-4.255), (4.01,-3.665,4.16,-3.515), (6.83,-3.645,6.98,-3.495), (1.275,-3.64,1.425,-3.49), (13.83,-3.585,13.98,-3.435), (14.15,-3.585,14.3,-3.435), (4.01,-3.345,4.16,-3.195), (5.27,-0.68,5.42,-0.53), (7.76,-0.65,7.91,-0.5), (15.19,0.355,15.34,0.505), (7.85,1.78,8,1.93), (8.17,1.78,8.32,1.93), (0.135,1.79,0.285,1.94), (7.055,2.72,7.205,2.87), (7.375,2.72,7.525,2.87), (-0.315,2.955,-0.165,3.105)])
R(full_adder, met2_pin, [(15.07,-5.33,15.47,-4.93), (-1.395,7.35,-0.995,7.645), (-0.51,7.35,-0.11,7.645)])
R(full_adder, met2, [(5.02,-6.3,14.14,-5.79), (5.02,-5.79,5.675,-0.35), (13.54,-5.79,14.14,-3.795), (12.88,-5.6,13.27,-5.21), (8.555,-5.505,8.975,-5.08), (14.995,-5.495,15.54,0.69), (2.385,-5.42,4.15,-5.05), (6.49,-4.735,8.065,-4.31), (-0.09,-4.725,1.765,-4.23), (10.91,-4.575,11.785,-4.085), (7.59,-4.31,8.065,1.515), (-0.09,-4.23,0.415,1.595), (0.945,-3.905,1.765,-3.23), (6.49,-3.905,7.31,-3.255), (3.815,-3.86,4.36,-2.985), (13.54,-3.795,14.43,-3.055), (6.495,-3.255,6.975,2.38), (0.95,-3.23,1.43,2.65), (2.005,-1.79,3.375,-1.34), (8.45,-1.79,9.82,-1.34), (12.035,-1.79,13.405,-1.34), (7.59,1.515,8.62,2.23), (-0.09,1.595,0.47,1.635), (-1.46,1.635,0.47,2.195), (-1.46,2.195,0.325,2.2), (-1.46,2.2,-0.915,7.68), (6.495,2.38,7.855,3.12), (-0.585,2.645,-0.015,2.65), (-0.585,2.65,1.43,3.415), (-0.585,3.415,-0.015,7.68)])
A(full_adder, via2, 2.565, -5.335, 0.2, 0.2, 4, 1, 0.4, 0)
A(full_adder, via2, 2.19, -1.665, 0.2, 0.2, 3, 1, 0.4, 0)
A(full_adder, via2, 8.635, -1.665, 0.2, 0.2, 3, 1, 0.4, 0)
A(full_adder, via2, 12.22, -1.665, 0.2, 0.2, 3, 1, 0.4, 0)
R(full_adder, via2, [(12.975,-5.505,13.175,-5.305), (8.665,-5.395,8.865,-5.195), (11.03,-4.43,11.23,-4.23), (11.43,-4.43,11.63,-4.23), (3.985,-3.73,4.185,-3.53), (3.985,-3.33,4.185,-3.13)])
R(full_adder, met3, [(12.82,-5.66,13.335,-5.17), (8.485,-5.53,9.045,-5.045), (2.385,-5.42,4.15,-5.05), (3.795,-4.575,11.8,-4.065), (3.795,-4.065,4.405,-2.895), (2.005,-1.79,3.375,-1.34), (8.45,-1.79,9.82,-1.34), (12.035,-1.79,13.405,-1.34)])
A(full_adder, via3, 2.565, -5.315, 0.2, 0.2, 4, 1, 0.4, 0)
A(full_adder, via3, 2.19, -1.665, 0.2, 0.2, 3, 1, 0.4, 0)
A(full_adder, via3, 8.635, -1.665, 0.2, 0.2, 3, 1, 0.4, 0)
A(full_adder, via3, 12.22, -1.665, 0.2, 0.2, 3, 1, 0.4, 0)
R(full_adder, via3, [(12.975,-5.505,13.175,-5.305), (8.665,-5.395,8.865,-5.195)])
R(full_adder, met4_pin, [(6.775,6.915,8.05,7.425)])
R(full_adder, met4, [(12.395,-6.085,13.755,-4.725), (8.085,-5.975,9.445,-4.615), (2.385,-5.42,4.15,-5.05), (2.43,-5.05,4.105,-4.105), (2.005,-1.79,13.405,-1.34), (7.09,-1.34,7.98,6.855), (2.985,6.855,11.36,7.485), (2.985,7.485,3.615,7.68)])
R(full_adder, via4, [(12.675,-5.805,13.475,-5.005), (8.365,-5.695,9.165,-4.895), (2.865,-5.095,3.665,-4.295)])
R(full_adder, met5_pin, [(2.165,-6.605,4.17,-6.22)])
R(full_adder, met5, [(-0.83,-7.105,14.97,7.68)])
R(full_adder, npc, [(7.285,2.37,7.655,3.08), (-0.565,2.67,-0.195,3.38)])
full_adder.add(gdstk.Reference(xor2, (8.14,-1.195)))
full_adder.add(gdstk.Reference(xor2, (0.345,-1.195)))
full_adder.add(gdstk.Reference(nand2, (9.12,-5.255)))
full_adder.add(gdstk.Reference(nand2, (4.71,-5.255)))
full_adder.add(gdstk.Reference(nand2, (-0.835,-5.255)))
full_adder.add(gdstk.Label('COUT', (-0.31,-0.585), layer=68, texttype=16))
full_adder.add(gdstk.Label('OUT', (15.27,-5.13), layer=69, texttype=16))
full_adder.add(gdstk.Label('CIN', (14.415,-0.61), layer=68, texttype=16))
full_adder.add(gdstk.Label('VSS', (3.167,-6.412), layer=72, texttype=16))
full_adder.add(gdstk.Label('A', (-1.195,7.497), layer=69, texttype=16))
full_adder.add(gdstk.Label('B', (-0.31,7.497), layer=69, texttype=16))
full_adder.add(gdstk.Label('VDD', (7.412,7.17), layer=71, texttype=16))

c_4bit_adder = lib.new_cell('4bit_ADDER')
R(c_4bit_adder, nwell, [(32.065,12.25,32.56,13.17), (48.54,12.455,48.995,13.175)])
R(c_4bit_adder, met1_pin, [(65.54,4.83,65.9,5.18)])
A(c_4bit_adder, met1, 15.565, 4.765, 1.015, 0.455, 4, 1, 16.455, 0)
R(c_4bit_adder, met1, [(-0.8,4.655,0.245,5.415), (64.67,4.77,64.915,5.21), (32.035,12.215,32.585,14.29), (48.495,12.4,49.035,15.025), (15.585,12.635,16.13,13.55), (-0.87,13.55,16.13,13.97), (-0.87,14.29,32.585,14.71), (-0.87,15.025,49.035,15.445)])
A(c_4bit_adder, via, 32.235, 12.315, 0.15, 0.15, 1, 3, 0, 0.32)
R(c_4bit_adder, via, [(-0.59,4.985,-0.44,5.135), (-0.27,4.985,-0.12,5.135), (48.69,12.58,48.84,12.73), (15.79,12.85,15.94,13), (48.69,12.9,48.84,13.05)])
R(c_4bit_adder, met2_pin, [(-0.76,-0.5,-0.07,0.06), (65.04,0.22,65.4,0.57), (15.66,0.24,16.05,0.64), (32.11,0.24,32.5,0.64), (48.57,0.24,48.96,0.64), (32.13,12.76,32.48,13.06), (33.03,12.76,33.38,13.06), (15.69,12.77,16.04,13.07), (16.56,12.77,16.91,13.07), (48.59,12.84,48.94,13.14), (49.48,12.84,49.83,13.14), (-0.79,12.87,-0.44,13.17), (0.13,12.87,0.48,13.17)])
R(c_4bit_adder, met2, [(-0.83,-0.625,0.095,5.395), (64.925,0.08,65.925,0.635), (15.66,0.24,16.05,0.64), (32.11,0.24,32.5,0.64), (48.57,0.24,48.96,0.64), (-0.87,7.5,-0.48,8.2), (32.065,12.25,32.56,13.17), (48.54,12.455,48.995,13.175), (15.645,12.69,16.09,13.165), (33.03,12.76,33.38,13.06), (16.56,12.77,16.91,13.07), (49.48,12.84,49.83,13.14), (-0.79,12.87,-0.44,13.17), (0.13,12.87,0.48,13.17)])
R(c_4bit_adder, met4_pin, [(27.43,12.41,28.12,12.97)])
R(c_4bit_adder, met4, [(1.12,12.35,64.33,12.99)])
R(c_4bit_adder, met5_pin, [(27.59,-1.37,28.28,-0.81)])
R(c_4bit_adder, met5, [(15.47,-1.535,49.35,13.25)])
c_4bit_adder.add(gdstk.Reference(full_adder, (49.955,5.57)))
c_4bit_adder.add(gdstk.Reference(full_adder, (33.5,5.57)))
c_4bit_adder.add(gdstk.Reference(full_adder, (17.045,5.57)))
c_4bit_adder.add(gdstk.Reference(full_adder, (0.59,5.57)))
c_4bit_adder.add(gdstk.Label('A3', (-0.615,13.02), layer=69, texttype=16))
c_4bit_adder.add(gdstk.Label('A2', (15.865,12.92), layer=69, texttype=16))
c_4bit_adder.add(gdstk.Label('A1', (32.305,12.91), layer=69, texttype=16))
c_4bit_adder.add(gdstk.Label('A0', (48.765,12.99), layer=69, texttype=16))
c_4bit_adder.add(gdstk.Label('B0', (49.655,12.99), layer=69, texttype=16))
c_4bit_adder.add(gdstk.Label('B1', (33.205,12.91), layer=69, texttype=16))
c_4bit_adder.add(gdstk.Label('B2', (16.735,12.92), layer=69, texttype=16))
c_4bit_adder.add(gdstk.Label('B3', (0.305,13.02), layer=69, texttype=16))
c_4bit_adder.add(gdstk.Label('C', (65.72,5.005), layer=68, texttype=16))
c_4bit_adder.add(gdstk.Label('S0', (65.22,0.395), layer=69, texttype=16))
c_4bit_adder.add(gdstk.Label('S1', (48.765,0.44), layer=69, texttype=16))
c_4bit_adder.add(gdstk.Label('S2', (32.305,0.44), layer=69, texttype=16))
c_4bit_adder.add(gdstk.Label('S3', (15.855,0.44), layer=69, texttype=16))
c_4bit_adder.add(gdstk.Label('Cout', (-0.415,-0.22), layer=69, texttype=16))
c_4bit_adder.add(gdstk.Label('VSS', (27.935,-1.09), layer=72, texttype=16))
c_4bit_adder.add(gdstk.Label('VDD', (27.775,12.69), layer=71, texttype=16))

lib.write_gds('4bit_ADDER.gds')
